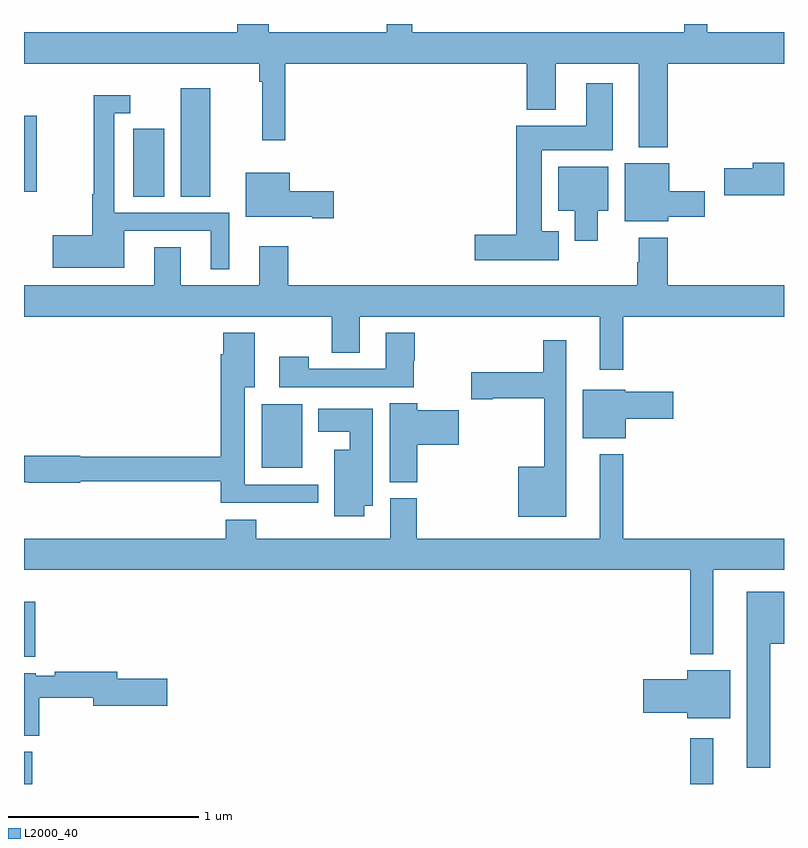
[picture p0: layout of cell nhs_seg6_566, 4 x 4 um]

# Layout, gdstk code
import gdstk
lib = gdstk.Library(unit=1e-6, precision=1e-09)
def R(c, l, rs):  # rectangles x0, y0, x1, y1
    for r in rs: c.add(gdstk.rectangle(r[:2], r[2:], *l))
def P(c, l, *ps):  # polygons
    for p in ps: c.add(gdstk.Polygon(p, *l))
L2000_40 = (2000, 40)

nhs_seg6_566 = lib.new_cell('nhs_seg6_566')
R(nhs_seg6_566, L2000_40, [(145,987.5,145.043,987.67), (148.506,987.5,148.627,987.742), (145,988.169,145.058,988.459), (146.252,989.165,146.464,989.5), (145.574,990.592,145.738,990.949), (145.826,990.592,145.981,991.162), (145,990.617,145.068,991.018)])
P(nhs_seg6_566, L2000_40, [(148.388,991.292),(149,991.292),(149,991.456),(148.597,991.456),(148.597,991.5),(148.475,991.5),(148.475,991.456),(147.044,991.456),(147.044,991.5),(146.908,991.5),(146.908,991.456),(146.288,991.456),(146.288,991.5),(146.123,991.5),(146.123,991.456),(145,991.456),(145,991.292),(146.239,991.292),(146.239,991.196),(146.254,991.196),(146.254,990.888),(146.375,990.888),(146.375,991.292),(147.647,991.292),(147.647,991.049),(147.799,991.049),(147.799,991.292),(148.235,991.292),(148.235,990.851),(148.388,990.851)],
  [(147.814,990.409),(147.724,990.409),(147.724,990.836),(148.099,990.836),(148.099,991.189),(147.959,991.189),(147.959,990.964),(147.59,990.964),(147.59,990.392),(147.372,990.392),(147.372,990.257),(147.814,990.257)],
  [(146.08,990.507),(145.476,990.507),(145.476,991.029),(145.558,991.029),(145.558,991.126),(145.368,991.126),(145.368,990.604),(145.36,990.604),(145.36,990.389),(145.152,990.389),(145.152,990.218),(145.528,990.218),(145.528,990.411),(145.982,990.411),(145.982,990.21),(146.08,990.21)],
  [(149,990.77),(148.835,990.77),(148.835,990.74),(148.686,990.74),(148.686,990.598),(149,990.598)],
  [(148.392,990.485),(148.582,990.485),(148.582,990.62),(148.396,990.62),(148.396,990.766),(148.163,990.766),(148.163,990.461),(148.392,990.461)],
  [(148.021,990.518),(148.075,990.518),(148.075,990.748),(147.812,990.748),(147.812,990.518),(147.899,990.518),(147.899,990.36),(148.021,990.36)],
  [(146.629,990.62),(146.398,990.62),(146.398,990.718),(146.168,990.718),(146.168,990.485),(146.516,990.485),(146.516,990.478),(146.629,990.478)],
  [(148.153,989.96),(149,989.96),(149,990.124),(148.388,990.124),(148.388,990.376),(148.235,990.376),(148.235,990.245),(148.228,990.245),(148.228,990.124),(146.39,990.124),(146.39,990.331),(146.237,990.331),(146.237,990.124),(145.825,990.124),(145.825,990.326),(145.685,990.326),(145.685,990.124),(145,990.124),(145,989.96),(146.62,989.96),(146.62,989.77),(146.767,989.77),(146.767,989.96),(148.031,989.96),(148.031,989.679),(148.153,989.679)],
  [(146.548,989.076),(146.161,989.076),(146.161,989.588),(146.215,989.588),(146.215,989.875),(146.048,989.875),(146.048,989.762),(146.036,989.762),(146.036,989.222),(145.296,989.222),(145.296,989.228),(145,989.228),(145,989.089),(145.024,989.089),(145.024,989.086),(145.296,989.086),(145.296,989.094),(146.036,989.094),(146.036,988.979),(146.548,988.979)],
  [(147.051,989.727),(147.056,989.727),(147.056,989.875),(146.903,989.875),(146.903,989.685),(146.499,989.685),(146.499,989.749),(146.343,989.749),(146.343,989.589),(147.051,989.589)],
  [(147.853,989.836),(147.732,989.836),(147.732,989.667),(147.354,989.667),(147.354,989.525),(147.466,989.525),(147.466,989.53),(147.739,989.53),(147.739,989.17),(147.602,989.17),(147.602,988.907),(147.853,988.907)],
  [(148.168,989.423),(148.417,989.423),(148.417,989.565),(148.164,989.565),(148.164,989.575),(147.941,989.575),(147.941,989.321),(148.168,989.321)],
  [(147.071,989.285),(147.289,989.285),(147.289,989.468),(147.071,989.468),(147.071,989.504),(146.924,989.504),(146.924,989.089),(147.071,989.089)],
  [(146.791,988.964),(146.836,988.964),(146.836,989.476),(146.549,989.476),(146.549,989.354),(146.714,989.354),(146.714,989.26),(146.633,989.26),(146.633,988.908),(146.791,988.908)],
  [(148.627,988.628),(149,988.628),(149,988.792),(148.153,988.792),(148.153,989.236),(148.031,989.236),(148.031,988.792),(147.068,988.792),(147.068,989.004),(146.927,989.004),(146.927,988.792),(146.223,988.792),(146.223,988.891),(146.063,988.891),(146.063,988.792),(145,988.792),(145,988.628),(148.506,988.628),(148.506,988.184),(148.627,988.184)],
  [(148.927,988.238),(149,988.238),(149,988.513),(148.805,988.513),(148.805,987.585),(148.927,987.585)],
  [(148.717,988.099),(148.49,988.099),(148.49,988.052),(148.26,988.052),(148.26,987.874),(148.49,987.874),(148.49,987.845),(148.717,987.845)],
  [(145.079,987.955),(145.364,987.955),(145.364,987.913),(145.753,987.913),(145.753,988.055),(145.492,988.055),(145.492,988.091),(145.162,988.091),(145.162,988.071),(145.062,988.071),(145.062,988.084),(145,988.084),(145,987.755),(145.079,987.755)])

lib.write_gds('nhs_seg6_566.gds')
